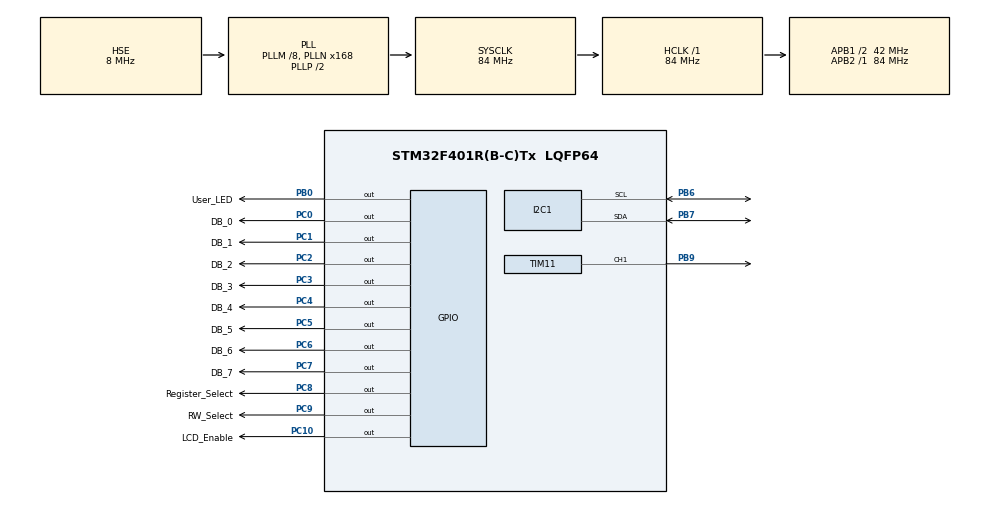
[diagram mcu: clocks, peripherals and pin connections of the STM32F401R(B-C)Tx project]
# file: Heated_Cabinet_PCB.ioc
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Mcu.Family=STM32F4
Mcu.Name=STM32F401R(B-C)Tx
Mcu.Package=LQFP64
NVIC.PriorityGroup=NVIC_PRIORITYGROUP_4
NVIC.TIM1_BRK_TIM9_IRQn=true\:1\:0\:true\:false\:true\:true\:true\:true
PA13.Mode=Serial_Wire
PA13.Signal=SYS_JTMS-SWDIO
PA14.Mode=Serial_Wire
PA14.Signal=SYS_JTCK-SWCLK
PB0.GPIO_Label=User_LED
PB0.Signal=GPIO_Output
PB6.Mode=I2C
PB6.Signal=I2C1_SCL
PB7.Mode=I2C
PB7.Signal=I2C1_SDA
PB9.Signal=S_TIM11_CH1
PC0.GPIO_Label=DB_0
PC0.Signal=GPIO_Output
PC1.GPIO_Label=DB_1
PC1.Signal=GPIO_Output
PC10.GPIO_Label=LCD_Enable
PC10.Signal=GPIO_Output
PC2.GPIO_Label=DB_2
PC2.Signal=GPIO_Output
PC3.GPIO_Label=DB_3
PC3.Signal=GPIO_Output
PC4.GPIO_Label=DB_4
PC4.Signal=GPIO_Output
PC5.GPIO_Label=DB_5
PC5.Signal=GPIO_Output
PC6.GPIO_Label=DB_6
PC6.Signal=GPIO_Output
PC7.GPIO_Label=DB_7
PC7.Signal=GPIO_Output
PC8.GPIO_Label=Register_Select
PC8.Signal=GPIO_Output
PC9.GPIO_Label=RW_Select
PC9.Signal=GPIO_Output
PH0\ -\ OSC_IN.Mode=HSE-External-Oscillator
PH0\ -\ OSC_IN.Signal=RCC_OSC_IN
PH1\ -\ OSC_OUT.Mode=HSE-External-Oscillator
PH1\ -\ OSC_OUT.Signal=RCC_OSC_OUT
ProjectManager.HeapSize=0x200
ProjectManager.StackSize=0x400
ProjectManager.TargetToolchain=STM32CubeIDE
RCC.48MHZClocksFreq_Value=42000000
RCC.AHBFreq_Value=84000000
RCC.APB1CLKDivider=RCC_HCLK_DIV2
RCC.APB1Freq_Value=42000000
RCC.APB1TimFreq_Value=84000000
RCC.APB2Freq_Value=84000000
RCC.APB2TimFreq_Value=84000000
RCC.CortexFreq_Value=84000000
RCC.HCLKFreq_Value=84000000
RCC.HSE_VALUE=8000000
RCC.HSI_VALUE=16000000
RCC.LSE_VALUE=32768
RCC.PLLM=8
RCC.PLLN=168
RCC.PLLSourceVirtual=RCC_PLLSOURCE_HSE
RCC.SYSCLKFreq_VALUE=84000000
RCC.SYSCLKSource=RCC_SYSCLKSOURCE_PLLCLK
RCC.VCOOutputFreq_Value=168000000
SH.S_TIM11_CH1.0=TIM11_CH1,PWM Generation1 CH1
TIM10.Prescaler=84 - 1
TIM11.Channel=TIM_CHANNEL_1
TIM11.Period=100 - 1
TIM11.Prescaler=42 - 1
TIM9.Period=1000 - 1
TIM9.Prescaler=8400 - 1
VP_TIM10_VS_ClockSourceINT.Mode=Enable_Timer
VP_TIM11_VS_ClockSourceINT.Mode=Enable_Timer
VP_TIM9_VS_ClockSourceINT.Mode=Internal
board=custom

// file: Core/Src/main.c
/* USER CODE BEGIN Header */
/**
  ******************************************************************************
  * @file           : main.c
  * @brief          : Main program body
  ******************************************************************************
  * @attention
  *
  * Copyright (c) 2026 STMicroelectronics.
  * All rights reserved.
  *
  * This software is licensed under terms that can be found in the LICENSE file
  * in the root directory of this software component.
  * If no LICENSE file comes with this software, it is provided AS-IS.
  *
  ******************************************************************************
  */
/* USER CODE END Header */
#include "main.h"

I2C_HandleTypeDef hi2c1;

TIM_HandleTypeDef htim9;
TIM_HandleTypeDef htim10;
TIM_HandleTypeDef htim11;

/* USER CODE BEGIN PV */
// Setup Temp Sensor Registers:
uint8_t config_data[2] = {0b01100000, 0xFF};
float temp_value = 0.0f;
char temp_buffer[100] = {0};
char LCD_buffer[21] = {0};
volatile uint32_t timer_counter = 0;
/* USER CODE END PV */

void SystemClock_Config(void);
static void MX_GPIO_Init(void);
static void MX_I2C1_Init(void);
static void MX_TIM11_Init(void);
static void MX_TIM9_Init(void);
static void MX_TIM10_Init(void);

int main(void)
{

  /* MCU Configuration--------------------------------------------------------*/

  /* Reset of all peripherals, Initializes the Flash interface and the Systick. */
  HAL_Init();

  /* Configure the system clock */
  SystemClock_Config();

  /* Initialize all configured peripherals */
  MX_GPIO_Init();
  MX_I2C1_Init();
  MX_TIM11_Init();
  MX_TIM9_Init();
  MX_TIM10_Init();
  /* USER CODE BEGIN 2 */
  HAL_TIM_Base_Start(&htim10);
  HAL_TIM_Base_Start_IT(&htim9);
  Init_Temp_Registers(config_data);
  HAL_TIM_PWM_Start(&htim11, TIM_CHANNEL_1);

  float Temp_Target = 80.0f;
  uint32_t PWM_Value = 0;

  // LCD setup

  Init_LCD();
  Intro_Message();
//  Clear_LCD();
  /* USER CODE END 2 */

  /* Infinite loop */
  while (1)
  {

    /* USER CODE BEGIN 3 */
		if(timer_counter >= 10)
		{
			HAL_GPIO_TogglePin(GPIOB, User_LED_Pin);

			temp_value = Get_Temp_Data();

			PWM_Value = Call_PI(Temp_Target, temp_value);

//			sprintf(temp_buffer, "The temperature is: %.2f degrees F		PWM Value is: %d\r\n", temp_value, (int)PWM_Value);

//			sprintf(temp_buffer, "TMP: %.1f PWM: %3d", temp_value, (int)PWM_Value);
//			LCD_Set_Cursor(0,0);
//			LCD_Write_String((uint8_t*)temp_buffer);

			__HAL_TIM_SET_COMPARE(&htim11, TIM_CHANNEL_1, PWM_Value);

			// Write the temp and system status to the LCD ------------------------------

			Update_UI(PWM_Value, temp_value, Temp_Target);

			timer_counter = 0;
		}
  }
  /* USER CODE END 3 */
}

void SystemClock_Config(void)
{
  RCC_OscInitTypeDef RCC_OscInitStruct = {0};
  RCC_ClkInitTypeDef RCC_ClkInitStruct = {0};

  /** Configure the main internal regulator output voltage
  */
  __HAL_RCC_PWR_CLK_ENABLE();
  __HAL_PWR_VOLTAGESCALING_CONFIG(PWR_REGULATOR_VOLTAGE_SCALE2);

  /** Initializes the RCC Oscillators according to the specified parameters
  * in the RCC_OscInitTypeDef structure.
  */
  RCC_OscInitStruct.OscillatorType = RCC_OSCILLATORTYPE_HSE;
  RCC_OscInitStruct.HSEState = RCC_HSE_ON;
  RCC_OscInitStruct.PLL.PLLState = RCC_PLL_ON;
  RCC_OscInitStruct.PLL.PLLSource = RCC_PLLSOURCE_HSE;
  RCC_OscInitStruct.PLL.PLLM = 8;
  RCC_OscInitStruct.PLL.PLLN = 168;
  RCC_OscInitStruct.PLL.PLLP = RCC_PLLP_DIV2;
  RCC_OscInitStruct.PLL.PLLQ = 4;
  if (HAL_RCC_OscConfig(&RCC_OscInitStruct) != HAL_OK)
  {
    Error_Handler();
  }

  /** Initializes the CPU, AHB and APB buses clocks
  */
  RCC_ClkInitStruct.ClockType = RCC_CLOCKTYPE_HCLK|RCC_CLOCKTYPE_SYSCLK
                              |RCC_CLOCKTYPE_PCLK1|RCC_CLOCKTYPE_PCLK2;
  RCC_ClkInitStruct.SYSCLKSource = RCC_SYSCLKSOURCE_PLLCLK;
  RCC_ClkInitStruct.AHBCLKDivider = RCC_SYSCLK_DIV1;
  RCC_ClkInitStruct.APB1CLKDivider = RCC_HCLK_DIV2;
  RCC_ClkInitStruct.APB2CLKDivider = RCC_HCLK_DIV1;

  if (HAL_RCC_ClockConfig(&RCC_ClkInitStruct, FLASH_LATENCY_2) != HAL_OK)
  {
    Error_Handler();
  }
}

static void MX_I2C1_Init(void)
{

  hi2c1.Instance = I2C1;
  hi2c1.Init.ClockSpeed = 100000;
  hi2c1.Init.DutyCycle = I2C_DUTYCYCLE_2;
  hi2c1.Init.OwnAddress1 = 0;
  hi2c1.Init.AddressingMode = I2C_ADDRESSINGMODE_7BIT;
  hi2c1.Init.DualAddressMode = I2C_DUALADDRESS_DISABLE;
  hi2c1.Init.OwnAddress2 = 0;
  hi2c1.Init.GeneralCallMode = I2C_GENERALCALL_DISABLE;
  hi2c1.Init.NoStretchMode = I2C_NOSTRETCH_DISABLE;
  if (HAL_I2C_Init(&hi2c1) != HAL_OK)
  {
    Error_Handler();
  }

}

static void MX_TIM9_Init(void)
{

  TIM_ClockConfigTypeDef sClockSourceConfig = {0};

  htim9.Instance = TIM9;
  htim9.Init.Prescaler = 8400 - 1;
  htim9.Init.CounterMode = TIM_COUNTERMODE_UP;
  htim9.Init.Period = 1000 - 1;
  htim9.Init.ClockDivision = TIM_CLOCKDIVISION_DIV1;
  htim9.Init.AutoReloadPreload = TIM_AUTORELOAD_PRELOAD_DISABLE;
  if (HAL_TIM_Base_Init(&htim9) != HAL_OK)
  {
    Error_Handler();
  }
  sClockSourceConfig.ClockSource = TIM_CLOCKSOURCE_INTERNAL;
  if (HAL_TIM_ConfigClockSource(&htim9, &sClockSourceConfig) != HAL_OK)
  {
    Error_Handler();
  }

}

static void MX_TIM10_Init(void)
{

  htim10.Instance = TIM10;
  htim10.Init.Prescaler = 84 - 1;
  htim10.Init.CounterMode = TIM_COUNTERMODE_UP;
  htim10.Init.Period = 65535;
  htim10.Init.ClockDivision = TIM_CLOCKDIVISION_DIV1;
  htim10.Init.AutoReloadPreload = TIM_AUTORELOAD_PRELOAD_DISABLE;
  if (HAL_TIM_Base_Init(&htim10) != HAL_OK)
  {
    Error_Handler();
  }

}

static void MX_TIM11_Init(void)
{

  TIM_OC_InitTypeDef sConfigOC = {0};

  htim11.Instance = TIM11;
  htim11.Init.Prescaler = 42 - 1;
  htim11.Init.CounterMode = TIM_COUNTERMODE_UP;
  htim11.Init.Period = 100 - 1;
  htim11.Init.ClockDivision = TIM_CLOCKDIVISION_DIV1;
  htim11.Init.AutoReloadPreload = TIM_AUTORELOAD_PRELOAD_DISABLE;
  if (HAL_TIM_Base_Init(&htim11) != HAL_OK)
  {
    Error_Handler();
  }
  if (HAL_TIM_PWM_Init(&htim11) != HAL_OK)
  {
    Error_Handler();
  }
  sConfigOC.OCMode = TIM_OCMODE_PWM1;
  sConfigOC.Pulse = 0;
  sConfigOC.OCPolarity = TIM_OCPOLARITY_HIGH;
  sConfigOC.OCFastMode = TIM_OCFAST_DISABLE;
  if (HAL_TIM_PWM_ConfigChannel(&htim11, &sConfigOC, TIM_CHANNEL_1) != HAL_OK)
  {
    Error_Handler();
  }
  HAL_TIM_MspPostInit(&htim11);

}

static void MX_GPIO_Init(void)
{
  GPIO_InitTypeDef GPIO_InitStruct = {0};

  /* GPIO Ports Clock Enable */
  __HAL_RCC_GPIOH_CLK_ENABLE();
  __HAL_RCC_GPIOC_CLK_ENABLE();
  __HAL_RCC_GPIOB_CLK_ENABLE();
  __HAL_RCC_GPIOA_CLK_ENABLE();

  /*Configure GPIO pin Output Level */
  HAL_GPIO_WritePin(GPIOC, DB_0_Pin|DB_1_Pin|DB_2_Pin|DB_3_Pin
                          |DB_4_Pin|DB_5_Pin|DB_6_Pin|DB_7_Pin
                          |Register_Select_Pin|RW_Select_Pin|LCD_Enable_Pin, GPIO_PIN_RESET);

  /*Configure GPIO pin Output Level */
  HAL_GPIO_WritePin(User_LED_GPIO_Port, User_LED_Pin, GPIO_PIN_RESET);

  /*Configure GPIO pins : DB_0_Pin DB_1_Pin DB_2_Pin DB_3_Pin
                           DB_4_Pin DB_5_Pin DB_6_Pin DB_7_Pin
                           Register_Select_Pin RW_Select_Pin LCD_Enable_Pin */
  GPIO_InitStruct.Pin = DB_0_Pin|DB_1_Pin|DB_2_Pin|DB_3_Pin
                          |DB_4_Pin|DB_5_Pin|DB_6_Pin|DB_7_Pin
                          |Register_Select_Pin|RW_Select_Pin|LCD_Enable_Pin;
  GPIO_InitStruct.Mode = GPIO_MODE_OUTPUT_PP;
  GPIO_InitStruct.Pull = GPIO_NOPULL;
  GPIO_InitStruct.Speed = GPIO_SPEED_FREQ_LOW;
  HAL_GPIO_Init(GPIOC, &GPIO_InitStruct);

  /*Configure GPIO pin : User_LED_Pin */
  GPIO_InitStruct.Pin = User_LED_Pin;
  GPIO_InitStruct.Mode = GPIO_MODE_OUTPUT_PP;
  GPIO_InitStruct.Pull = GPIO_NOPULL;
  GPIO_InitStruct.Speed = GPIO_SPEED_FREQ_LOW;
  HAL_GPIO_Init(User_LED_GPIO_Port, &GPIO_InitStruct);

}

/* USER CODE BEGIN 4 */
void HAL_TIM_PeriodElapsedCallback(TIM_HandleTypeDef *htim)
{
	if (htim->Instance == TIM9)
	    {
	        timer_counter++;
	    }
}
/* USER CODE END 4 */

void Error_Handler(void)
{
  __disable_irq();
  while (1)
  {
  }
}
